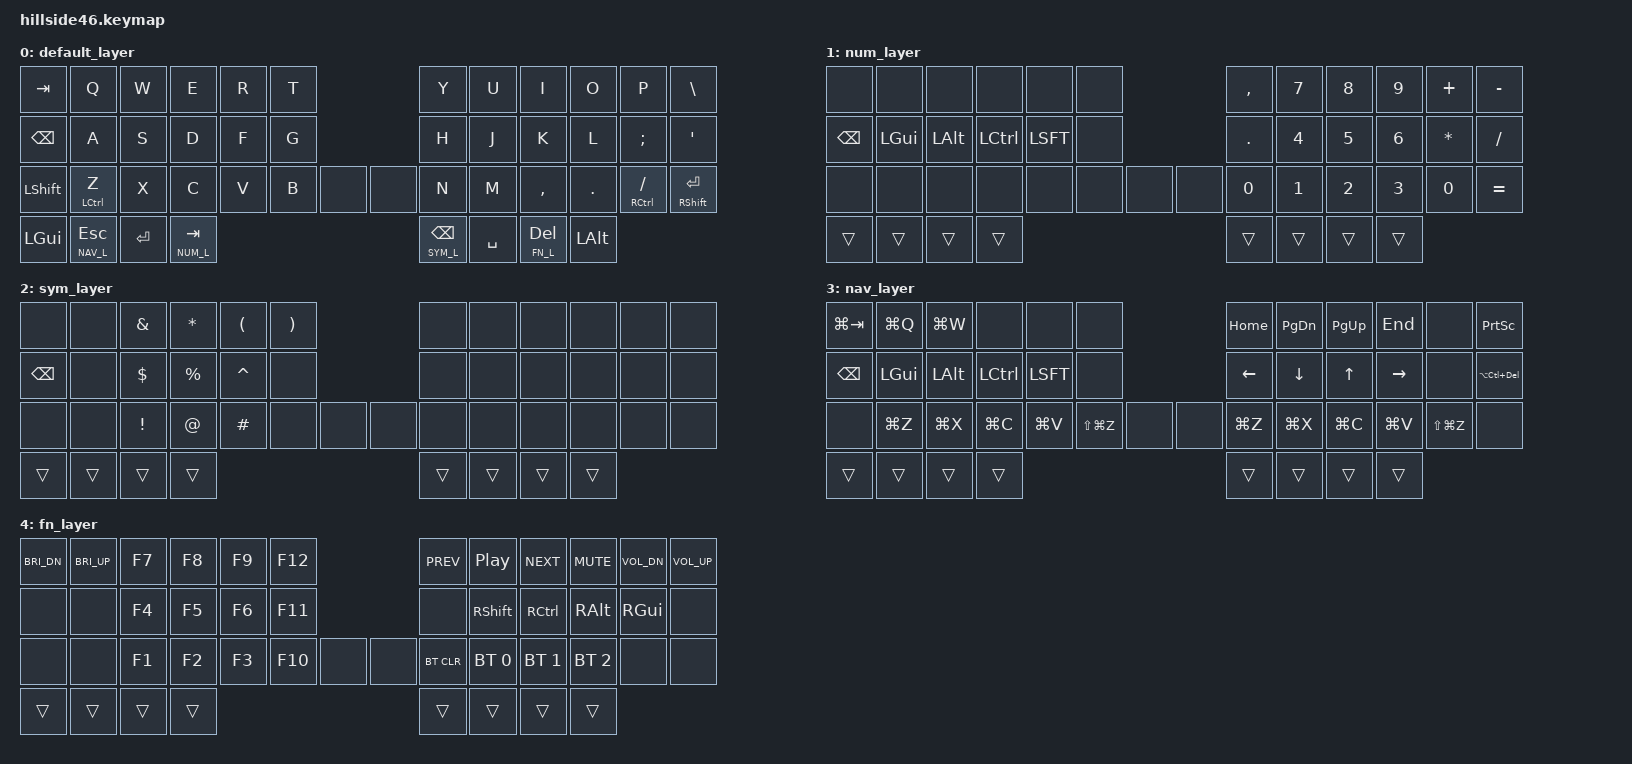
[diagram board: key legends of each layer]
/*
 * Copyright (c) 2021-2022 The ZMK Contributors
 *
 * SPDX-License-Identifier: MIT
 */

#include <behaviors.dtsi>
#include <dt-bindings/zmk/bt.h>
#include <dt-bindings/zmk/ext_power.h>
#include <dt-bindings/zmk/keys.h>
#include <dt-bindings/zmk/outputs.h>

#define QWE_L 0
#define NUM_L 1
#define SYM_L 2
#define NAV_L 3
#define FN_L  4

#define A_C_D LA(LC(DEL))
#define U_RDO LS(LG(Z))

#include "macros.dtsi"
#include "hillside46.combos.dtsi"

&mt {
    tapping-term-ms = <175>;
};

&caps_word {
    continue-list = <UNDERSCORE MINUS BSPC DEL N1 N2 N3 N4 N5 N6 N7 N8 N9 N0>;
};

/ {
    behaviors {
        hm: homerow_mods {
            compatible = "zmk,behavior-hold-tap";
            label = "HOMEROW_MODS";
            #binding-cells = <2>;
            tapping-term-ms = <175>;
            quick-tap-ms = <100>;
            global-quick-tap;
            flavor = "tap-preferred";
            bindings = <&kp>, <&kp>;
        };
        td_esc: tap_dance_esc {
            compatible = "zmk,behavior-tap-dance";
            label = "TAP_ESC";
            #binding-cells = <0>;
            tapping-term-ms = <200>;
            bindings = <&kp GRAVE>, <&kp ESC>, <&kp ESC>;
        };
        bspc_del: backspace_delete {
            compatible = "zmk,behavior-mod-morph";
            label = "BACKSPACE_DELETE";
            #binding-cells = <0>;
            bindings = <&kp BACKSPACE>, <&kp DELETE>;
            mods = <(MOD_LSFT|MOD_RSFT)>;
            keep-mods = <(MOD_RSFT)>;
        };
    };

    keymap {
        compatible = "zmk,keymap";

        default_layer {
            bindings = <
&kp TAB    &kp Q        &kp W  &kp E  &kp R  &kp T                &kp Y  &kp U  &kp I      &kp O    &kp P           &kp BSLH
&kp BSPC   &kp A        &kp S  &kp D  &kp F  &kp G                &kp H  &kp J  &kp K      &kp L    &kp SEMI        &kp SQT
&kp LSHFT  &hm LCTRL Z  &kp X  &kp C  &kp V  &kp B  &none  &none  &kp N  &kp M  &kp COMMA  &kp DOT  &hm RCTRL FSLH  &mt RSHFT RET

&kp LGUI  &lt NAV_L ESC  &kp RET  &lt NUM_L TAB  &lt SYM_L BSPC  &kp SPACE  &lt FN_L DEL  &kp LALT
            >;
        };

        num_layer {
            bindings = <
&none     &none     &none     &none     &none     &none                  &kp COMMA  &kp N7  &kp N8  &kp N9  &kp PLUS   &kp MINUS
&kp BSPC  &kp LGUI  &kp LALT  &kp LCTL  &kp LSFT  &none                  &kp DOT    &kp N4  &kp N5  &kp N6  &kp ASTRK  &kp FSLH
&none     &none     &none     &none     &none     &none   &none  &none   &kp N0     &kp N1  &kp N2  &kp N3  &kp N0     &kp EQUAL

&trans  &trans  &trans  &trans  &trans  &trans  &trans  &trans
            >;
        };

        sym_layer {
            bindings = <
&none     &none  &kp AMPS  &kp ASTRK  &kp LPAR   &kp RPAR                &none  &none  &none  &none  &none  &none
&kp BSPC  &none  &kp DLLR  &kp PRCNT  &kp CARET  &none                   &none  &none  &none  &none  &none  &none
&none     &none  &kp EXCL  &kp AT     &kp HASH   &none   &none   &none   &none  &none  &none  &none  &none  &none

&trans  &trans  &trans  &trans  &trans  &trans  &trans  &trans
            >;
        };

        nav_layer {
            bindings = <
&kp LG(TAB)  &kp LG(Q)  &kp LG(W)  &none      &none      &none                    &kp HOME   &kp PG_DN  &kp PG_UP  &kp END    &none      &kp PSCRN
&kp BSPC     &kp LGUI   &kp LALT   &kp LCTL   &kp LSFT   &none                    &kp LEFT   &kp DOWN   &kp UP     &kp RIGHT  &none      &kp A_C_D
&none        &kp LG(Z)  &kp LG(X)  &kp LG(C)  &kp LG(V)  &kp U_RDO  &none  &none  &kp LG(Z)  &kp LG(X)  &kp LG(C)  &kp LG(V)  &kp U_RDO  &none

&trans  &trans  &trans  &trans  &trans  &trans  &trans  &trans
            >;
        };

        fn_layer {
            bindings = <
&kp C_BRI_DN  &kp C_BRI_UP  &kp F7  &kp F8  &kp F9  &kp F12                &kp C_PREV    &kp C_PP      &kp C_NEXT    &kp K_MUTE    &kp C_VOL_DN  &kp C_VOL_UP
&none         &none         &kp F4  &kp F5  &kp F6  &kp F11                &none         &kp RSHFT     &kp RCTL      &kp RALT      &kp RGUI      &none
&none         &none         &kp F1  &kp F2  &kp F3  &kp F10  &none  &none  &bt BT_CLR    &bt BT_SEL 0  &bt BT_SEL 1  &bt BT_SEL 2  &none         &none

&trans  &trans  &trans  &trans  &trans  &trans  &trans  &trans
            >;
        };

    };

};
